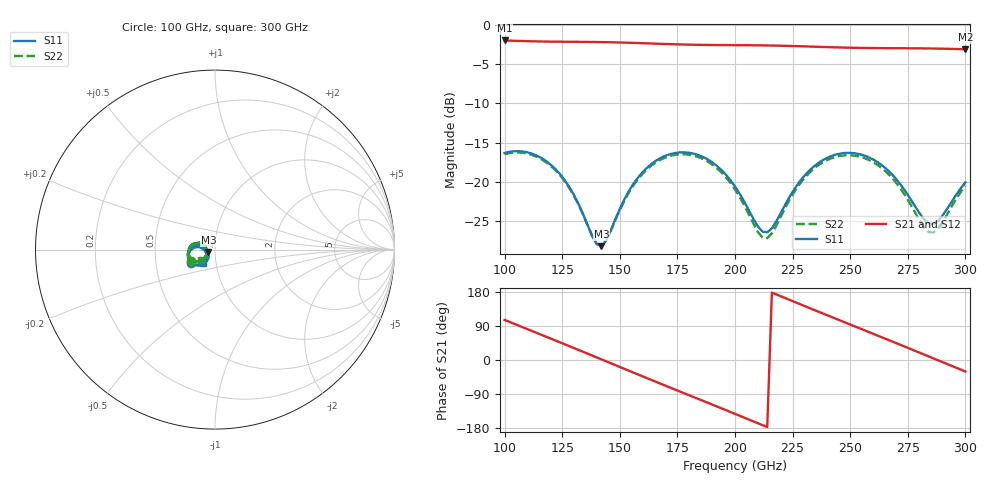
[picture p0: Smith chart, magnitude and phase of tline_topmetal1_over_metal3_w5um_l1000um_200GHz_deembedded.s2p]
! Created with skrf 2.0.1 (http://scikit-rf.org).
# GHz S DB R 50.0
!freq dBS11 angS11 dBS21 angS21 dBS12 angS12 dBS22 angS22
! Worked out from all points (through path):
!   101 points, 100 GHz to 300 GHz, reference 50 ohm
!   highest |S21| = -1.99 dB at 100 GHz (marker M1); lowest = -3.1 dB at 300 GHz (marker M2)
!   group delay of S21, straight-line fit = 6.89 ps
!   lowest |S11| = -28.1 dB at 142 GHz (marker M3), VSWR 1.08, Z = 46.5 - j1.33 ohm
!   |S11| at or under -10 dB: start of sweep to end of sweep
!   |S22| runs from -28.1 to -16.2 dB; largest |S21 - S12| = 4.6e-16
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100  -16.29 -149.7  -1.99 105.8  -1.99 105.8  -16.45 -154.7
108  -16.11 -165.5  -2.07 86.1  -2.07 86.1  -16.27 -170.9
116  -16.94 179.4  -2.12 66.4  -2.12 66.4  -17.09 173.7
126  -19.71 164.2  -2.16 41.7  -2.16 41.7  -19.85 158.1
134  -24.02 162.8  -2.18 21.8  -2.18 21.8  -24.10 156.4
142  -28.14 -158.6  -2.20 1.7  -2.20 1.7  -28.09 -166.5
154  -21.11 -125.9  -2.29 -28.4  -2.29 -28.4  -21.28 -134.8
168  -16.88 -144.5  -2.43 -63.3  -2.43 -63.3  -17.10 -153.9
176  -16.22 -158.6  -2.50 -83.0  -2.50 -83.0  -16.46 -168.4
184  -16.55 -172.5  -2.55 -102.6  -2.55 -102.6  -16.80 177.1
200  -20.55 167.2  -2.59 -142.1  -2.59 -142.1  -20.92 155.5
210  -25.66 -178.0  -2.62 -167.0  -2.62 -167.0  -26.35 170.3
214  -26.38 -156.9  -2.63 -177.0  -2.63 -177.0  -27.12 -167.1
224  -21.72 -129.2  -2.69 157.9  -2.69 157.9  -22.07 -139.2
234  -18.07 -136.3  -2.78 133.0  -2.78 133.0  -18.35 -147.6
242  -16.66 -148.0  -2.86 113.3  -2.86 113.3  -16.94 -160.1
250  -16.28 -160.9  -2.92 93.6  -2.92 93.6  -16.58 -173.9
258  -16.84 -173.5  -2.95 74.0  -2.95 74.0  -17.17 172.7
268  -18.97 174.1  -2.98 49.4  -2.98 49.4  -19.40 159.1
278  -23.00 175.3  -2.99 24.6  -2.99 24.6  -23.77 159.3
286  -25.31 -157.1  -3.02 4.6  -3.02 4.6  -26.41 -169.9
300  -20.02 -131.5  -3.11 -30.3  -3.11 -30.3  -20.43 -143.9
